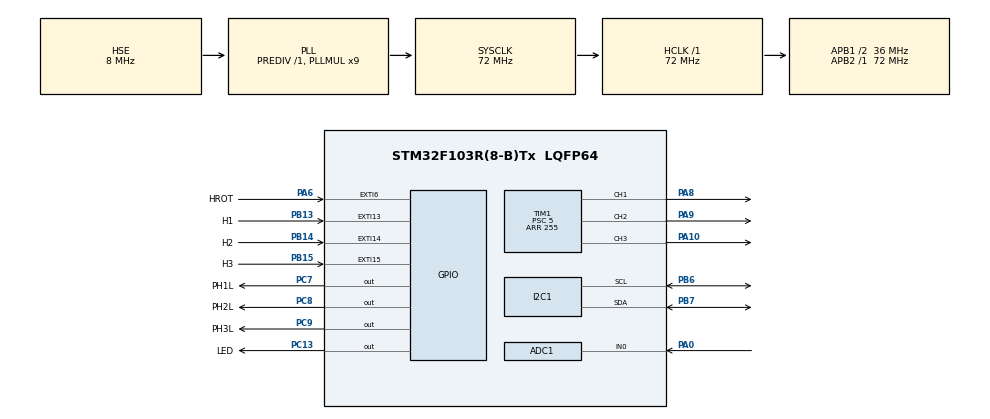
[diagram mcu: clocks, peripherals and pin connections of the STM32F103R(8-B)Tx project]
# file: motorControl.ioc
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ADC1.Channel-0\#ChannelRegularConversion=ADC_CHANNEL_0
ADC1.NbrOfConversionFlag=1
ADC1.Rank-0\#ChannelRegularConversion=1
ADC1.SamplingTime-0\#ChannelRegularConversion=ADC_SAMPLETIME_55CYCLES_5
ADC1.master=1
Dma.ADC1.0.Direction=DMA_PERIPH_TO_MEMORY
Dma.ADC1.0.Instance=DMA1_Channel1
Dma.ADC1.0.MemDataAlignment=DMA_MDATAALIGN_HALFWORD
Dma.ADC1.0.MemInc=DMA_MINC_ENABLE
Dma.ADC1.0.Mode=DMA_CIRCULAR
Dma.ADC1.0.PeriphDataAlignment=DMA_PDATAALIGN_HALFWORD
Dma.ADC1.0.PeriphInc=DMA_PINC_DISABLE
Dma.ADC1.0.Priority=DMA_PRIORITY_LOW
Dma.Request0=ADC1
I2C1.I2C_Mode=I2C_Fast
Mcu.Family=STM32F1
Mcu.Name=STM32F103R(8-B)Tx
Mcu.Package=LQFP64
NVIC.DMA1_Channel1_IRQn=true\:0\:0\:false\:false\:true\:false\:true\:true
NVIC.EXTI15_10_IRQn=true\:0\:0\:false\:false\:true\:true\:true\:true
NVIC.EXTI9_5_IRQn=true\:0\:0\:false\:false\:true\:true\:true\:true
NVIC.PriorityGroup=NVIC_PRIORITYGROUP_4
PA0-WKUP.Signal=ADCx_IN0
PA10.Signal=S_TIM1_CH3
PA13.Mode=Trace_Asynchronous_SW
PA13.Signal=SYS_JTMS-SWDIO
PA14.Mode=Trace_Asynchronous_SW
PA14.Signal=SYS_JTCK-SWCLK
PA6.GPIO_Label=HROT
PA6.GPIO_PuPd=GPIO_PULLUP
PA6.Signal=GPXTI6
PA8.Signal=S_TIM1_CH1
PA9.Signal=S_TIM1_CH2
PB13.GPIO_Label=H1
PB13.GPIO_ModeDefaultEXTI=GPIO_MODE_IT_RISING_FALLING
PB13.GPIO_PuPd=GPIO_PULLUP
PB13.Signal=GPXTI13
PB14.GPIO_Label=H2
PB14.GPIO_ModeDefaultEXTI=GPIO_MODE_IT_RISING_FALLING
PB14.GPIO_PuPd=GPIO_PULLUP
PB14.Signal=GPXTI14
PB15.GPIO_Label=H3
PB15.GPIO_ModeDefaultEXTI=GPIO_MODE_IT_RISING_FALLING
PB15.GPIO_PuPd=GPIO_PULLUP
PB15.Signal=GPXTI15
PB3.Mode=Trace_Asynchronous_SW
PB3.Signal=SYS_JTDO-TRACESWO
PB6.Mode=I2C
PB6.Signal=I2C1_SCL
PB7.Mode=I2C
PB7.Signal=I2C1_SDA
PC13-TAMPER-RTC.GPIO_Label=LED
PC13-TAMPER-RTC.Signal=GPIO_Output
PC7.GPIO_Label=PH1L
PC7.Signal=GPIO_Output
PC8.GPIO_Label=PH2L
PC8.Signal=GPIO_Output
PC9.GPIO_Label=PH3L
PC9.Signal=GPIO_Output
PD0-OSC_IN.Mode=HSE-External-Oscillator
PD0-OSC_IN.Signal=RCC_OSC_IN
PD1-OSC_OUT.Mode=HSE-External-Oscillator
PD1-OSC_OUT.Signal=RCC_OSC_OUT
ProjectManager.HeapSize=0x200
ProjectManager.StackSize=0x400
ProjectManager.TargetToolchain=Makefile
RCC.ADCPresc=RCC_ADCPCLK2_DIV6
RCC.AHBFreq_Value=72000000
RCC.APB1CLKDivider=RCC_HCLK_DIV2
RCC.APB1Freq_Value=36000000
RCC.APB1TimFreq_Value=72000000
RCC.APB2Freq_Value=72000000
RCC.APB2TimFreq_Value=72000000
RCC.HCLKFreq_Value=72000000
RCC.PLLMUL=RCC_PLL_MUL9
RCC.PLLSourceVirtual=RCC_PLLSOURCE_HSE
RCC.SYSCLKFreq_VALUE=72000000
RCC.SYSCLKSource=RCC_SYSCLKSOURCE_PLLCLK
RCC.USBFreq_Value=72000000
SH.ADCx_IN0.0=ADC1_IN0,IN0
SH.S_TIM1_CH1.0=TIM1_CH1,PWM Generation1 CH1
SH.S_TIM1_CH2.0=TIM1_CH2,PWM Generation2 CH2
SH.S_TIM1_CH3.0=TIM1_CH3,PWM Generation3 CH3
TIM1.Channel-PWM\ Generation1\ CH1=TIM_CHANNEL_1
TIM1.Channel-PWM\ Generation2\ CH2=TIM_CHANNEL_2
TIM1.Channel-PWM\ Generation3\ CH3=TIM_CHANNEL_3
TIM1.Period=255
TIM1.Prescaler=5
TIM2.Prescaler=71
VP_TIM1_VS_ClockSourceINT.Mode=Internal
VP_TIM2_VS_ClockSourceINT.Mode=Internal
board=custom

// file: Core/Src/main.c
/* USER CODE BEGIN Header */
/**
  ******************************************************************************
  * @file           : main.c
  * @brief          : Main program body
  ******************************************************************************
  * @attention
  *
  * Copyright (c) 2024 STMicroelectronics.
  * All rights reserved.
  *
  * This software is licensed under terms that can be found in the LICENSE file
  * in the root directory of this software component.
  * If no LICENSE file comes with this software, it is provided AS-IS.
  *
  ******************************************************************************
  */
/* USER CODE END Header */
#include "main.h"

/* USER CODE BEGIN Includes */
#include "stdbool.h"
#include "ssd1306.h"
#include "stdio.h"
/* USER CODE END Includes */

/* USER CODE BEGIN PD */
#define PH_H  1
#define PH_L  0
#define PH_Z  -1
/* USER CODE END PD */

ADC_HandleTypeDef hadc1;
DMA_HandleTypeDef hdma_adc1;

I2C_HandleTypeDef hi2c1;

TIM_HandleTypeDef htim1;
TIM_HandleTypeDef htim2;

/* USER CODE BEGIN PV */
uint8_t duty;
uint32_t value_adc;
bool halls[3];
uint32_t last_pulse_time;
uint32_t last_intervals[50];
uint8_t intereval_ptr = 0;

uint32_t disp_tmr;
uint32_t comm_tmr;
uint32_t last_comm;

uint8_t gase_zero_pos;
/* USER CODE END PV */

void SystemClock_Config(void);
static void MX_GPIO_Init(void);
static void MX_DMA_Init(void);
static void MX_ADC1_Init(void);
static void MX_TIM1_Init(void);
static void MX_I2C1_Init(void);
static void MX_TIM2_Init(void);
/* USER CODE BEGIN PFP */
void setPhases(int PH1, int PH2, int PH3);
/* USER CODE END PFP */

int main(void)
{

  /* MCU Configuration--------------------------------------------------------*/

  /* Reset of all peripherals, Initializes the Flash interface and the Systick. */
  HAL_Init();

  /* Configure the system clock */
  SystemClock_Config();

  /* Initialize all configured peripherals */
  MX_GPIO_Init();
  MX_DMA_Init();
  MX_ADC1_Init();
  MX_TIM1_Init();
  MX_I2C1_Init();
  MX_TIM2_Init();
  /* USER CODE BEGIN 2 */
  HAL_GPIO_TogglePin(LED_GPIO_Port, LED_Pin);
  HAL_Delay(200);
  HAL_GPIO_TogglePin(LED_GPIO_Port, LED_Pin);

  HAL_ADC_Start_DMA(&hadc1,(uint32_t*)&value_adc,1);

  HAL_TIM_PWM_Start(&htim1, TIM_CHANNEL_1);
  HAL_TIM_PWM_Start(&htim1, TIM_CHANNEL_2);
  HAL_TIM_PWM_Start(&htim1, TIM_CHANNEL_3);

  duty = 127;
  setPhases(PH_Z, PH_L, PH_H);
  HAL_Delay(100);
  setPhases(PH_Z, PH_Z, PH_Z);

  SSD1306_Init (); // initialise the display
  gase_zero_pos = value_adc;
  /* USER CODE END 2 */

  /* Infinite loop */
  /* USER CODE BEGIN WHILE */
  while (1)
  {
    duty = (value_adc - gase_zero_pos) * (255 - 0) / (4095 - gase_zero_pos) + 0;

    HAL_ADC_Start(&hadc1);

    if(HAL_GetTick() - disp_tmr > 15){
      char gase_buf[6];
      uint8_t gase = duty * 100 / 255;
      sprintf(gase_buf, "%d %%", gase);

      char rpm_buf[15];
      uint16_t rpm = 60000 / comm_tmr;
      sprintf(rpm_buf, "%d RPM", rpm);
      SSD1306_Clear();
      SSD1306_GotoXY(10, 10);
      SSD1306_Puts (gase_buf, &Font_11x18, 1); // print Hello
      SSD1306_GotoXY(10, 25);
      SSD1306_Puts (rpm_buf, &Font_11x18, 1); // print Hello
      SSD1306_UpdateScreen(); // update screen
      disp_tmr = HAL_GetTick();
    }
    /* USER CODE END WHILE */

  }
}

void SystemClock_Config(void)
{
  RCC_OscInitTypeDef RCC_OscInitStruct = {0};
  RCC_ClkInitTypeDef RCC_ClkInitStruct = {0};
  RCC_PeriphCLKInitTypeDef PeriphClkInit = {0};

  /** Initializes the RCC Oscillators according to the specified parameters
  * in the RCC_OscInitTypeDef structure.
  */
  RCC_OscInitStruct.OscillatorType = RCC_OSCILLATORTYPE_HSE;
  RCC_OscInitStruct.HSEState = RCC_HSE_ON;
  RCC_OscInitStruct.HSEPredivValue = RCC_HSE_PREDIV_DIV1;
  RCC_OscInitStruct.HSIState = RCC_HSI_ON;
  RCC_OscInitStruct.PLL.PLLState = RCC_PLL_ON;
  RCC_OscInitStruct.PLL.PLLSource = RCC_PLLSOURCE_HSE;
  RCC_OscInitStruct.PLL.PLLMUL = RCC_PLL_MUL9;
  if (HAL_RCC_OscConfig(&RCC_OscInitStruct) != HAL_OK)
  {
    Error_Handler();
  }

  /** Initializes the CPU, AHB and APB buses clocks
  */
  RCC_ClkInitStruct.ClockType = RCC_CLOCKTYPE_HCLK|RCC_CLOCKTYPE_SYSCLK
                              |RCC_CLOCKTYPE_PCLK1|RCC_CLOCKTYPE_PCLK2;
  RCC_ClkInitStruct.SYSCLKSource = RCC_SYSCLKSOURCE_PLLCLK;
  RCC_ClkInitStruct.AHBCLKDivider = RCC_SYSCLK_DIV1;
  RCC_ClkInitStruct.APB1CLKDivider = RCC_HCLK_DIV2;
  RCC_ClkInitStruct.APB2CLKDivider = RCC_HCLK_DIV1;

  if (HAL_RCC_ClockConfig(&RCC_ClkInitStruct, FLASH_LATENCY_2) != HAL_OK)
  {
    Error_Handler();
  }
  PeriphClkInit.PeriphClockSelection = RCC_PERIPHCLK_ADC;
  PeriphClkInit.AdcClockSelection = RCC_ADCPCLK2_DIV6;
  if (HAL_RCCEx_PeriphCLKConfig(&PeriphClkInit) != HAL_OK)
  {
    Error_Handler();
  }
}

static void MX_ADC1_Init(void)
{

  ADC_ChannelConfTypeDef sConfig = {0};

  /** Common config
  */
  hadc1.Instance = ADC1;
  hadc1.Init.ScanConvMode = ADC_SCAN_DISABLE;
  hadc1.Init.ContinuousConvMode = DISABLE;
  hadc1.Init.DiscontinuousConvMode = DISABLE;
  hadc1.Init.ExternalTrigConv = ADC_SOFTWARE_START;
  hadc1.Init.DataAlign = ADC_DATAALIGN_RIGHT;
  hadc1.Init.NbrOfConversion = 1;
  if (HAL_ADC_Init(&hadc1) != HAL_OK)
  {
    Error_Handler();
  }

  /** Configure Regular Channel
  */
  sConfig.Channel = ADC_CHANNEL_0;
  sConfig.Rank = ADC_REGULAR_RANK_1;
  sConfig.SamplingTime = ADC_SAMPLETIME_55CYCLES_5;
  if (HAL_ADC_ConfigChannel(&hadc1, &sConfig) != HAL_OK)
  {
    Error_Handler();
  }

}

static void MX_I2C1_Init(void)
{

  hi2c1.Instance = I2C1;
  hi2c1.Init.ClockSpeed = 400000;
  hi2c1.Init.DutyCycle = I2C_DUTYCYCLE_2;
  hi2c1.Init.OwnAddress1 = 0;
  hi2c1.Init.AddressingMode = I2C_ADDRESSINGMODE_7BIT;
  hi2c1.Init.DualAddressMode = I2C_DUALADDRESS_DISABLE;
  hi2c1.Init.OwnAddress2 = 0;
  hi2c1.Init.GeneralCallMode = I2C_GENERALCALL_DISABLE;
  hi2c1.Init.NoStretchMode = I2C_NOSTRETCH_DISABLE;
  if (HAL_I2C_Init(&hi2c1) != HAL_OK)
  {
    Error_Handler();
  }

}

static void MX_TIM1_Init(void)
{

  TIM_ClockConfigTypeDef sClockSourceConfig = {0};
  TIM_MasterConfigTypeDef sMasterConfig = {0};
  TIM_OC_InitTypeDef sConfigOC = {0};
  TIM_BreakDeadTimeConfigTypeDef sBreakDeadTimeConfig = {0};

  htim1.Instance = TIM1;
  htim1.Init.Prescaler = 5;
  htim1.Init.CounterMode = TIM_COUNTERMODE_UP;
  htim1.Init.Period = 255;
  htim1.Init.ClockDivision = TIM_CLOCKDIVISION_DIV1;
  htim1.Init.RepetitionCounter = 0;
  htim1.Init.AutoReloadPreload = TIM_AUTORELOAD_PRELOAD_DISABLE;
  if (HAL_TIM_Base_Init(&htim1) != HAL_OK)
  {
    Error_Handler();
  }
  sClockSourceConfig.ClockSource = TIM_CLOCKSOURCE_INTERNAL;
  if (HAL_TIM_ConfigClockSource(&htim1, &sClockSourceConfig) != HAL_OK)
  {
    Error_Handler();
  }
  if (HAL_TIM_PWM_Init(&htim1) != HAL_OK)
  {
    Error_Handler();
  }
  sMasterConfig.MasterOutputTrigger = TIM_TRGO_RESET;
  sMasterConfig.MasterSlaveMode = TIM_MASTERSLAVEMODE_DISABLE;
  if (HAL_TIMEx_MasterConfigSynchronization(&htim1, &sMasterConfig) != HAL_OK)
  {
    Error_Handler();
  }
  sConfigOC.OCMode = TIM_OCMODE_PWM1;
  sConfigOC.Pulse = 0;
  sConfigOC.OCPolarity = TIM_OCPOLARITY_HIGH;
  sConfigOC.OCNPolarity = TIM_OCNPOLARITY_HIGH;
  sConfigOC.OCFastMode = TIM_OCFAST_DISABLE;
  sConfigOC.OCIdleState = TIM_OCIDLESTATE_RESET;
  sConfigOC.OCNIdleState = TIM_OCNIDLESTATE_RESET;
  if (HAL_TIM_PWM_ConfigChannel(&htim1, &sConfigOC, TIM_CHANNEL_1) != HAL_OK)
  {
    Error_Handler();
  }
  if (HAL_TIM_PWM_ConfigChannel(&htim1, &sConfigOC, TIM_CHANNEL_2) != HAL_OK)
  {
    Error_Handler();
  }
  if (HAL_TIM_PWM_ConfigChannel(&htim1, &sConfigOC, TIM_CHANNEL_3) != HAL_OK)
  {
    Error_Handler();
  }
  sBreakDeadTimeConfig.OffStateRunMode = TIM_OSSR_DISABLE;
  sBreakDeadTimeConfig.OffStateIDLEMode = TIM_OSSI_DISABLE;
  sBreakDeadTimeConfig.LockLevel = TIM_LOCKLEVEL_OFF;
  sBreakDeadTimeConfig.DeadTime = 0;
  sBreakDeadTimeConfig.BreakState = TIM_BREAK_DISABLE;
  sBreakDeadTimeConfig.BreakPolarity = TIM_BREAKPOLARITY_HIGH;
  sBreakDeadTimeConfig.AutomaticOutput = TIM_AUTOMATICOUTPUT_DISABLE;
  if (HAL_TIMEx_ConfigBreakDeadTime(&htim1, &sBreakDeadTimeConfig) != HAL_OK)
  {
    Error_Handler();
  }
  HAL_TIM_MspPostInit(&htim1);

}

static void MX_TIM2_Init(void)
{

  TIM_ClockConfigTypeDef sClockSourceConfig = {0};
  TIM_MasterConfigTypeDef sMasterConfig = {0};

  htim2.Instance = TIM2;
  htim2.Init.Prescaler = 71;
  htim2.Init.CounterMode = TIM_COUNTERMODE_UP;
  htim2.Init.Period = 65535;
  htim2.Init.ClockDivision = TIM_CLOCKDIVISION_DIV1;
  htim2.Init.AutoReloadPreload = TIM_AUTORELOAD_PRELOAD_DISABLE;
  if (HAL_TIM_Base_Init(&htim2) != HAL_OK)
  {
    Error_Handler();
  }
  sClockSourceConfig.ClockSource = TIM_CLOCKSOURCE_INTERNAL;
  if (HAL_TIM_ConfigClockSource(&htim2, &sClockSourceConfig) != HAL_OK)
  {
    Error_Handler();
  }
  sMasterConfig.MasterOutputTrigger = TIM_TRGO_RESET;
  sMasterConfig.MasterSlaveMode = TIM_MASTERSLAVEMODE_DISABLE;
  if (HAL_TIMEx_MasterConfigSynchronization(&htim2, &sMasterConfig) != HAL_OK)
  {
    Error_Handler();
  }

}

static void MX_DMA_Init(void)
{

  /* DMA controller clock enable */
  __HAL_RCC_DMA1_CLK_ENABLE();

  /* DMA interrupt init */
  /* DMA1_Channel1_IRQn interrupt configuration */
  HAL_NVIC_SetPriority(DMA1_Channel1_IRQn, 0, 0);
  HAL_NVIC_EnableIRQ(DMA1_Channel1_IRQn);

}

static void MX_GPIO_Init(void)
{
  GPIO_InitTypeDef GPIO_InitStruct = {0};

  /* GPIO Ports Clock Enable */
  __HAL_RCC_GPIOC_CLK_ENABLE();
  __HAL_RCC_GPIOD_CLK_ENABLE();
  __HAL_RCC_GPIOA_CLK_ENABLE();
  __HAL_RCC_GPIOB_CLK_ENABLE();

  /*Configure GPIO pin Output Level */
  HAL_GPIO_WritePin(GPIOC, LED_Pin|PH1L_Pin|PH2L_Pin|PH3L_Pin, GPIO_PIN_RESET);

  /*Configure GPIO pins : LED_Pin PH1L_Pin PH2L_Pin PH3L_Pin */
  GPIO_InitStruct.Pin = LED_Pin|PH1L_Pin|PH2L_Pin|PH3L_Pin;
  GPIO_InitStruct.Mode = GPIO_MODE_OUTPUT_PP;
  GPIO_InitStruct.Pull = GPIO_NOPULL;
  GPIO_InitStruct.Speed = GPIO_SPEED_FREQ_LOW;
  HAL_GPIO_Init(GPIOC, &GPIO_InitStruct);

  /*Configure GPIO pin : HROT_Pin */
  GPIO_InitStruct.Pin = HROT_Pin;
  GPIO_InitStruct.Mode = GPIO_MODE_IT_RISING;
  GPIO_InitStruct.Pull = GPIO_PULLUP;
  HAL_GPIO_Init(HROT_GPIO_Port, &GPIO_InitStruct);

  /*Configure GPIO pins : H1_Pin H2_Pin H3_Pin */
  GPIO_InitStruct.Pin = H1_Pin|H2_Pin|H3_Pin;
  GPIO_InitStruct.Mode = GPIO_MODE_IT_RISING_FALLING;
  GPIO_InitStruct.Pull = GPIO_PULLUP;
  HAL_GPIO_Init(GPIOB, &GPIO_InitStruct);

  /* EXTI interrupt init*/
  HAL_NVIC_SetPriority(EXTI9_5_IRQn, 0, 0);
  HAL_NVIC_EnableIRQ(EXTI9_5_IRQn);

  HAL_NVIC_SetPriority(EXTI15_10_IRQn, 0, 0);
  HAL_NVIC_EnableIRQ(EXTI15_10_IRQn);

}

/* USER CODE BEGIN 4 */
void setPhases(int PH1, int PH2, int PH3){
  if (PH1 != -1){
    TIM1->CCR1 = duty*PH1;
    HAL_GPIO_WritePin(PH1L_GPIO_Port, PH1L_Pin, PH1);
  }else{
    TIM1->CCR1 = 0;
    HAL_GPIO_WritePin(PH1L_GPIO_Port, PH1L_Pin, GPIO_PIN_SET);
  }

  if (PH2 != -1) {
    TIM1->CCR2 = duty*PH2;
    HAL_GPIO_WritePin(PH2L_GPIO_Port, PH2L_Pin, PH2);
  }else{
    TIM1->CCR2 = 0;
    HAL_GPIO_WritePin(PH2L_GPIO_Port, PH2L_Pin, GPIO_PIN_SET);
  }

  if (PH3 != -1) {
    TIM1->CCR3 = duty*PH3;
    HAL_GPIO_WritePin(PH3L_GPIO_Port, PH3L_Pin, PH3);
  }else{
    TIM1->CCR3 = 0;
    HAL_GPIO_WritePin(PH3L_GPIO_Port, PH3L_Pin, GPIO_PIN_SET);
  }
}

uint32_t GetMicroseconds(void) {
    return __HAL_TIM_GET_COUNTER(&htim2); // Get current counter value
}

void HAL_GPIO_EXTI_Callback(uint16_t GPIO_Pin)
{
  if(GPIO_Pin == GPIO_PIN_6) {
    HAL_GPIO_TogglePin(LED_GPIO_Port, LED_Pin);
    comm_tmr = HAL_GetTick() - last_comm;
    last_comm = HAL_GetTick();
  }else if(GPIO_Pin == GPIO_PIN_13 || GPIO_Pin == GPIO_PIN_14 || GPIO_Pin == GPIO_PIN_15){
    halls[0] = HAL_GPIO_ReadPin(H1_GPIO_Port, H1_Pin);
    halls[1] = HAL_GPIO_ReadPin(H2_GPIO_Port, H2_Pin);
    halls[2] = HAL_GPIO_ReadPin(H3_GPIO_Port, H3_Pin);

    // SET CORRECT CONFIG
    if(!halls[0] && !halls[1] && halls[2]){
      setPhases(PH_Z, PH_L, PH_H);
    }else if(halls[0] && !halls[1] && halls[2]){
      setPhases(PH_H, PH_L, PH_Z);
    }else if(halls[0] && !halls[1] && !halls[2]){
      setPhases(PH_H, PH_Z, PH_L);
    }else if(halls[0] && halls[1] && !halls[2]){
      setPhases(PH_Z, PH_H, PH_L);
    }else if(!halls[0] && halls[1] && !halls[2]){
      setPhases(PH_L, PH_H, PH_Z);
    }else if(!halls[0] && halls[1] && halls[2]){
      setPhases(PH_L, PH_Z, PH_H);
    }else{ // UNEXPECTED VALUE
      setPhases(PH_Z, PH_Z, PH_Z); // DISABLE PHASES
    }
  } else {
    __NOP();
  }
}
/* USER CODE END 4 */

void Error_Handler(void)
{
  __disable_irq();
  while (1)
  {
  }
}
